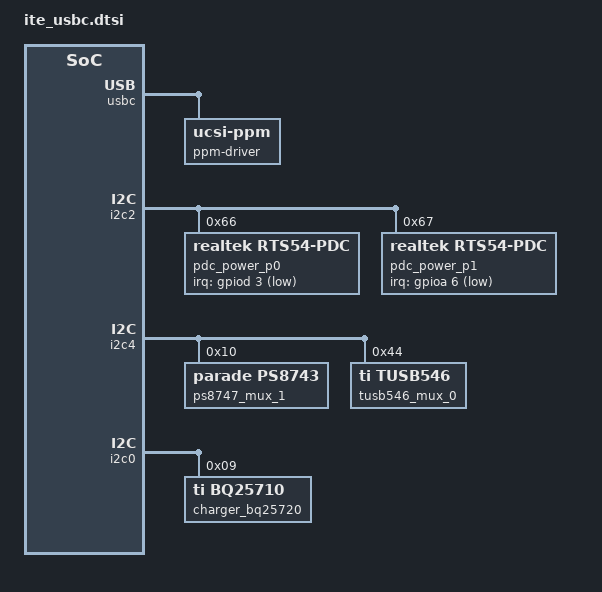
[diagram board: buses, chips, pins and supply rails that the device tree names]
/* Copyright 2025 The ChromiumOS Authors
 * Use of this source code is governed by a BSD-style license that can be
 * found in the LICENSE file.
 */

#include <usbc-policy.dtsi>

/ {
	usbc {
		#address-cells = <1>;
		#size-cells = <0>;

		usbc_port0: port0@0 {
			compatible = "named-usbc-port";
			reg = <0>;
			chg = <&charger_bq25720>;
			pdc = <&pdc_power_p0>;
			policy = <&cros_policy>;
			usb-mux-chain-0 {
				compatible = "cros-ec,usb-mux-chain";
				usb-muxes = <&tusb546_mux_0 &virtual_mux_0>;
			};
		};

		port0-muxes {
			virtual_mux_0: virtual-mux-0 {
				compatible = "cros-ec,usbc-mux-virtual";
			};
		};

		usbc_port1: port1@1 {
			compatible = "named-usbc-port";
			reg = <1>;
			pdc = <&pdc_power_p1>;
			policy = <&cros_policy>;
			usb-mux-chain-1 {
				compatible = "cros-ec,usb-mux-chain";
				usb-muxes = <&ps8747_mux_1 &virtual_mux_1>;
			};
		};

		port1-muxes {
			virtual_mux_1: virtual-mux-1 {
				compatible = "cros-ec,usbc-mux-virtual";
			};
		};
		ppm-driver {
			compatible = "ucsi-ppm";
		};
	};
};

&i2c2 {
	pdc_power_p0: rts54-pdc@66 {
		compatible = "realtek,rts54-pdc";
		reg = <0x66>;
		irq-gpios = <&gpiod 3 GPIO_ACTIVE_LOW>;
		ccd;
	};
	pdc_power_p1: rts54-pdc@67 {
		compatible = "realtek,rts54-pdc";
		reg = <0x67>;
		irq-gpios = <&gpioa 6 GPIO_ACTIVE_LOW>;
	};
	/* TODO(b:380121396): enable PDC I2C_S port if we need it */
};

&i2c4 {
	ps8747_mux_1: ps8747-mux-1@10 {
		compatible = "parade,ps8743";
		status = "okay";
		reg = <0x10>;
	};

	tusb546_mux_0: tusb546-mux-0@44 {
		compatible = "ti,tusb546";
		reg = <0x44>;
	};
};

&i2c0 {
	charger_bq25720: bq25720@9 {
		compatible = "ti,bq25710";
		status = "okay";
		reg = <0x9>;
	};
};

